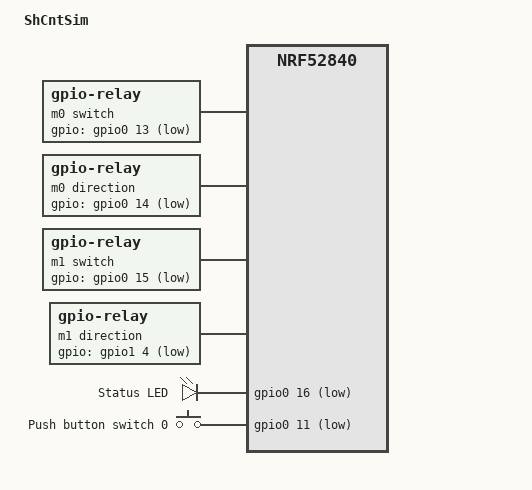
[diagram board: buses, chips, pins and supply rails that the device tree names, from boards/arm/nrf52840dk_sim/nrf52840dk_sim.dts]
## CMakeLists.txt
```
# Find Zephyr. This also loads Zephyr's build system.
cmake_minimum_required(VERSION 3.13.1)

set(CONF_FILE "prj.conf")
list(APPEND CONF_FILE "../config/openthread.conf")
list(APPEND CONF_FILE "../config/coap.conf")
list(APPEND CONF_FILE "../config/fota.conf")
list(APPEND CONF_FILE "../config/dfu.conf")

list(APPEND BOARD_ROOT ${CMAKE_CURRENT_SOURCE_DIR})
find_package(Zephyr REQUIRED HINTS $ENV{ZEPHYR_BASE})
project(shcnt)

# Add your source file to the "app" target. This must come after
# find_package(Zephyr) which defines the target.
target_sources(app PRIVATE src/coap.c)
target_sources(app PRIVATE src/debug_log.c)
target_sources(app PRIVATE src/main.c)
target_sources(app PRIVATE src/mot_cnt.c)
target_sources(app PRIVATE src/pos_srv.c)
target_sources(app PRIVATE src/pos_swing.c)
target_sources(app PRIVATE src/prov.c)

# TODO: Replace with library target
target_include_directories(app PRIVATE ../lib)
target_sources(app PRIVATE ../lib/cbor_utils.c)
target_sources(app PRIVATE ../lib/coap_fota.c)
target_sources(app PRIVATE ../lib/coap_reboot.c)
target_sources(app PRIVATE ../lib/coap_sd.c)
target_sources(app PRIVATE ../lib/coap_server.c)
target_sources(app PRIVATE ../lib/relay.c)

zephyr_get(COAPS_PSK SYSBUILD GLOBAL)
if(COAPS_PSK)
    target_compile_definitions(app PRIVATE
        -DCOAPS_PSK=${COAPS_PSK}
        )
endif()
```

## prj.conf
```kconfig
CONFIG_NEWLIB_LIBC=y
CONFIG_FPU=y
CONFIG_FPU_SHARING=y

CONFIG_MAIN_STACK_SIZE=3072
CONFIG_HEAP_MEM_POOL_SIZE=2048

CONFIG_FLASH=y

CONFIG_LED=y

CONFIG_MCUBOOT_IMGTOOL_SIGN_VERSION="0.7.0+0"

CONFIG_RESET_ON_FATAL_ERROR=n
#CONFIG_DEBUG_THREAD_INFO=y
#CONFIG_THREAD_MONITOR=y
```

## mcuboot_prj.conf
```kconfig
CONFIG_BOOT_SIGNATURE_KEY_FILE="mykey.pem"

CONFIG_RESET_ON_FATAL_ERROR=n
CONFIG_GPIO_AS_PINRESET=n
```

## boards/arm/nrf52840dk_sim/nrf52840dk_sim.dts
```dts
/*
 * Copyright (c) 2020 Hubert Miś
 *
 * SPDX-License-Identifier: Apache-2.0
 */

/dts-v1/;
#include <nordic/nrf52840_qiaa.dtsi>

/ {
	model = "ShCntSim";
	compatible = "hubertmis,shcnt_sim";

	chosen {
		zephyr,sram = &sram0;
		zephyr,flash = &flash0;
		zephyr,code-partition = &slot0_partition;
	};

	m0_sw: relay0 {
		compatible = "gpio-relay";
		gpios = <&gpio0 13 GPIO_ACTIVE_LOW>;
		label = "m0 switch";
	};
	m0_dir: relay1 {
		compatible = "gpio-relay";
		gpios = <&gpio0 14 GPIO_ACTIVE_LOW>;
		label = "m0 direction";
	};
	m1_sw: relay2 {
		compatible = "gpio-relay";
		gpios = <&gpio0 15 GPIO_ACTIVE_LOW>;
		label = "m1 switch";
	};
	m1_dir: relay3 {
		compatible = "gpio-relay";
		gpios = <&gpio1 4 GPIO_ACTIVE_LOW>;
		label = "m1 direction";
	};

	m0: mot_cnt_0 {
		compatible = "hubertmis,mot-cnt";
		sw = <&m0_sw>;
		dir = <&m0_dir>;
	};
	m1: mot_cnt_1 {
		compatible = "hubertmis,mot-cnt";
		sw = <&m1_sw>;
		dir = <&m1_dir>;
	};

    leds {
        compatible = "gpio-leds";
        led_status: led_0 {
            gpios = <&gpio0 16 GPIO_ACTIVE_LOW>;
            label = "Status LED";
        };
    };

    buttons {
        compatible = "gpio-keys";
        button0: button_0 {
            gpios = <&gpio0 11 (GPIO_PULL_UP | GPIO_ACTIVE_LOW)>;
            label = "Push button switch 0";
        };
    };

    /*
    * In some default configurations within the nRF Connect SDK,
    * e.g. on nRF52840, the chosen zephyr,entropy node is &cryptocell.
    * This devicetree overlay ensures that default is overridden wherever it
    * is set, as this application uses the RNG node for entropy exclusively.
    */
    chosen {
        zephyr,entropy = &rng;
    };
};

&gpiote {
	status = "okay";
};

&gpio0 {
	status = "okay";
};

&gpio1 {
	status = "okay";
};

&flash0 {

	partitions {
		compatible = "fixed-partitions";
		#address-cells = <1>;
		#size-cells = <1>;

		boot_partition: partition@0 {
			label = "mcuboot";
			reg = <0x000000000 0x0000C000>;
		};
		slot0_partition: partition@c000 {
			label = "image-0";
			reg = <0x0000C000 0x00067000>;
		};
		slot1_partition: partition@73000 {
			label = "image-1";
			reg = <0x00073000 0x00067000>;
		};
		scratch_partition: partition@da000 {
			label = "image-scratch";
			reg = <0x000da000 0x0001e000>;
		};

		/*
		 * The flash starting at 0x000f8000 and ending at
		 * 0x000fffff is reserved for use by the application.
		 */

		/*
		 * Storage partition will be used by FCB/LittleFS/NVS
		 * if enabled.
		 */
		storage_partition: partition@f8000 {
			label = "storage";
			reg = <0x000f8000 0x00008000>;
		};
	};
};
```

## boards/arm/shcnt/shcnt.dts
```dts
/*
 * Copyright (c) 2021 Hubert Miś
 *
 * SPDX-License-Identifier: Apache-2.0
 */

/dts-v1/;
#include <nordic/nrf52840_qiaa.dtsi>

/ {
	model = "ShCnt";
	compatible = "hubertmis,shcnt";

	chosen {
		zephyr,sram = &sram0;
		zephyr,flash = &flash0;
		zephyr,code-partition = &slot0_partition;
	};

	m0_sw: relay0 {
		compatible = "gpio-relay";
		gpios = <&gpio0 9 GPIO_ACTIVE_HIGH>;
		label = "m0 switch";
	};
	m0_dir: relay1 {
		compatible = "gpio-relay";
		gpios = <&gpio0 10 GPIO_ACTIVE_HIGH>;
		label = "m0 direction";
	};
	m1_sw: relay2 {
		compatible = "gpio-relay";
		gpios = <&gpio1 6 GPIO_ACTIVE_HIGH>;
		label = "m1 switch";
	};
	m1_dir: relay3 {
		compatible = "gpio-relay";
		gpios = <&gpio1 4 GPIO_ACTIVE_HIGH>;
		label = "m1 direction";
	};

	m0: mot_cnt_0 {
		compatible = "hubertmis,mot-cnt";
		sw = <&m0_sw>;
		dir = <&m0_dir>;
	};
	m1: mot_cnt_1 {
		compatible = "hubertmis,mot-cnt";
		sw = <&m1_sw>;
		dir = <&m1_dir>;
	};

    leds {
        compatible = "gpio-leds";
        led_status: led_0 {
            gpios = <&gpio0 22 GPIO_ACTIVE_HIGH>;
            label = "Status LED";
        };
    };

    buttons {
        compatible = "gpio-keys";
        button0: button_0 {
            gpios = <&gpio1 0 (GPIO_PULL_UP | GPIO_ACTIVE_LOW)>;
            label = "Push button switch 0";
        };
    };

    /*
    * In some default configurations within the nRF Connect SDK,
    * e.g. on nRF52840, the chosen zephyr,entropy node is &cryptocell.
    * This devicetree overlay ensures that default is overridden wherever it
    * is set, as this application uses the RNG node for entropy exclusively.
    */
    chosen {
        zephyr,entropy = &rng;
    };
};

&gpiote {
	status = "okay";
};

&gpio0 {
	status = "okay";
};

&gpio1 {
	status = "okay";
};

&flash0 {

	partitions {
		compatible = "fixed-partitions";
		#address-cells = <1>;
		#size-cells = <1>;

		boot_partition: partition@0 {
			label = "mcuboot";
			reg = <0x000000000 0x0000C000>;
		};
		slot0_partition: partition@c000 {
			label = "image-0";
			reg = <0x0000C000 0x00067000>;
		};
		slot1_partition: partition@73000 {
			label = "image-1";
			reg = <0x00073000 0x00067000>;
		};
		scratch_partition: partition@da000 {
			label = "image-scratch";
			reg = <0x000da000 0x0001e000>;
		};

		/*
		 * The flash starting at 0x000f8000 and ending at
		 * 0x000fffff is reserved for use by the application.
		 */

		/*
		 * Storage partition will be used by FCB/LittleFS/NVS
		 * if enabled.
		 */
		storage_partition: partition@f8000 {
			label = "storage";
			reg = <0x000f8000 0x00008000>;
		};
	};
};
```

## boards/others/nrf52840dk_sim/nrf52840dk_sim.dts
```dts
/*
 * Copyright (c) 2020 Hubert Miś
 *
 * SPDX-License-Identifier: Apache-2.0
 */

/dts-v1/;
#include <nordic/nrf52840_qiaa.dtsi>

/ {
	model = "ShCntSim";
	compatible = "hubertmis,shcnt_sim";

	chosen {
		zephyr,sram = &sram0;
		zephyr,flash = &flash0;
		zephyr,code-partition = &slot0_partition;
		zephyr,ieee802154 = &ieee802154;
	};

	m0_sw: relay0 {
		compatible = "gpio-relay";
		gpios = <&gpio0 13 GPIO_ACTIVE_LOW>;
		label = "m0 switch";
	};
	m0_dir: relay1 {
		compatible = "gpio-relay";
		gpios = <&gpio0 14 GPIO_ACTIVE_LOW>;
		label = "m0 direction";
	};
	m1_sw: relay2 {
		compatible = "gpio-relay";
		gpios = <&gpio0 15 GPIO_ACTIVE_LOW>;
		label = "m1 switch";
	};
	m1_dir: relay3 {
		compatible = "gpio-relay";
		gpios = <&gpio1 4 GPIO_ACTIVE_LOW>;
		label = "m1 direction";
	};

	m0: mot_cnt_0 {
		compatible = "hubertmis,mot-cnt";
		sw = <&m0_sw>;
		dir = <&m0_dir>;
	};
	m1: mot_cnt_1 {
		compatible = "hubertmis,mot-cnt";
		sw = <&m1_sw>;
		dir = <&m1_dir>;
	};

    leds {
        compatible = "gpio-leds";
        led_status: led_0 {
            gpios = <&gpio0 16 GPIO_ACTIVE_LOW>;
            label = "Status LED";
        };
    };

    buttons {
        compatible = "gpio-keys";
        button0: button_0 {
            gpios = <&gpio0 11 (GPIO_PULL_UP | GPIO_ACTIVE_LOW)>;
            label = "Push button switch 0";
        };
    };

    /*
    * In some default configurations within the nRF Connect SDK,
    * e.g. on nRF52840, the chosen zephyr,entropy node is &cryptocell.
    * This devicetree overlay ensures that default is overridden wherever it
    * is set, as this application uses the RNG node for entropy exclusively.
    */
    chosen {
        zephyr,entropy = &rng;
    };
};

&gpiote {
	status = "okay";
};

&gpio0 {
	status = "okay";
};

&gpio1 {
	status = "okay";
};

&ieee802154 {
	status = "okay";
};

&uicr {
    nfct-pins-as-gpios;
};

&flash0 {

	partitions {
		compatible = "fixed-partitions";
		#address-cells = <1>;
		#size-cells = <1>;

		boot_partition: partition@0 {
			label = "mcuboot";
			reg = <0x000000000 0x0000C000>;
		};
		slot0_partition: partition@c000 {
			label = "image-0";
			reg = <0x0000C000 0x00067000>;
		};
		slot1_partition: partition@73000 {
			label = "image-1";
			reg = <0x00073000 0x00067000>;
		};
		scratch_partition: partition@da000 {
			label = "image-scratch";
			reg = <0x000da000 0x0001e000>;
		};

		/*
		 * The flash starting at 0x000f8000 and ending at
		 * 0x000fffff is reserved for use by the application.
		 */

		/*
		 * Storage partition will be used by FCB/LittleFS/NVS
		 * if enabled.
		 */
		storage_partition: partition@f8000 {
			label = "storage";
			reg = <0x000f8000 0x00008000>;
		};
	};
};
```

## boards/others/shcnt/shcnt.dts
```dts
/*
 * Copyright (c) 2021 Hubert Miś
 *
 * SPDX-License-Identifier: Apache-2.0
 */

/dts-v1/;
#include <nordic/nrf52840_qiaa.dtsi>

/ {
	model = "ShCnt";
	compatible = "hubertmis,shcnt";

	chosen {
		zephyr,sram = &sram0;
		zephyr,flash = &flash0;
		zephyr,code-partition = &slot0_partition;
		zephyr,ieee802154 = &ieee802154;
	};

	m0_sw: relay0 {
		compatible = "gpio-relay";
		gpios = <&gpio0 9 GPIO_ACTIVE_HIGH>;
		label = "m0 switch";
	};
	m0_dir: relay1 {
		compatible = "gpio-relay";
		gpios = <&gpio0 10 GPIO_ACTIVE_HIGH>;
		label = "m0 direction";
	};
	m1_sw: relay2 {
		compatible = "gpio-relay";
		gpios = <&gpio1 6 GPIO_ACTIVE_HIGH>;
		label = "m1 switch";
	};
	m1_dir: relay3 {
		compatible = "gpio-relay";
		gpios = <&gpio1 4 GPIO_ACTIVE_HIGH>;
		label = "m1 direction";
	};

	m0: mot_cnt_0 {
		compatible = "hubertmis,mot-cnt";
		sw = <&m0_sw>;
		dir = <&m0_dir>;
	};
	m1: mot_cnt_1 {
		compatible = "hubertmis,mot-cnt";
		sw = <&m1_sw>;
		dir = <&m1_dir>;
	};

    leds {
        compatible = "gpio-leds";
        led_status: led_0 {
            gpios = <&gpio0 22 GPIO_ACTIVE_HIGH>;
            label = "Status LED";
        };
    };

    buttons {
        compatible = "gpio-keys";
        button0: button_0 {
            gpios = <&gpio1 0 (GPIO_PULL_UP | GPIO_ACTIVE_LOW)>;
            label = "Push button switch 0";
        };
    };

    /*
    * In some default configurations within the nRF Connect SDK,
    * e.g. on nRF52840, the chosen zephyr,entropy node is &cryptocell.
    * This devicetree overlay ensures that default is overridden wherever it
    * is set, as this application uses the RNG node for entropy exclusively.
    */
    chosen {
        zephyr,entropy = &rng;
    };
};

&gpiote {
	status = "okay";
};

&gpio0 {
	status = "okay";
};

&gpio1 {
	status = "okay";
};

&ieee802154 {
	status = "okay";
};

&uicr {
    nfct-pins-as-gpios;
};

&flash0 {

	partitions {
		compatible = "fixed-partitions";
		#address-cells = <1>;
		#size-cells = <1>;

		boot_partition: partition@0 {
			label = "mcuboot";
			reg = <0x000000000 0x0000C000>;
		};
		slot0_partition: partition@c000 {
			label = "image-0";
			reg = <0x0000C000 0x00079000>;
		};
		slot1_partition: partition@85000 {
			label = "image-1";
			reg = <0x00085000 0x00079000>;
		};
		storage_partition: partition@fe000 {
			label = "storage";
			reg = <0x000fe000 0x00002000>;
		};
	};
};
```

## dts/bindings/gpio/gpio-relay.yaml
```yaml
# Copyright (c) 2020, Hubert Miś
# SPDX-License-Identifier: Apache-2.0

description: GPIO relay node

compatible: "gpio-relay"

properties:
   gpios:
      type: phandle-array
      required: true
   label:
      required: true
      type: string
      description: Human readable string describing the device (used as device_get_binding() argument)
```

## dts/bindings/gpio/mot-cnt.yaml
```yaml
# Copyright (c) 2021, Hubert Miś
# SPDX-License-Identifier: Apache-2.0

description: Motor controller node

compatible: "hubertmis,mot-cnt"

properties:
   sw:
      type: phandle
      required: true
   dir:
      type: phandle
      required: true
```

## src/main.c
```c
/*
 * Copyright (c) 2021 Hubert Miś
 *
 * SPDX-License-Identifier: Apache-2.0
 */

#include <assert.h>

#include <relay.h>
#include "coap.h"
#include "mot_cnt.h"
#include "pos_srv.h"
#include "prov.h"

#include <net/fota_download.h>
#include <openthread/thread.h>
#include <zephyr/dfu/mcuboot.h>
#include <zephyr/drivers/gpio.h>
#include <zephyr/net/openthread.h>
#include <zephyr/settings/settings.h>
#include <zephyr/sys/reboot.h>

#define TX_POWER 8

// Heartbeat
#define HEARTBEAT_STACK_SIZE 512
#define LED_NODE_ID DT_NODELABEL(led_status)
#define GPIO_NODE_ID DT_GPIO_CTLR(LED_NODE_ID, gpios)
#define GPIO_PIN     DT_GPIO_PIN(LED_NODE_ID, gpios)
#define GPIO_FLAGS   DT_GPIO_FLAGS(LED_NODE_ID, gpios)

void hb_proc(void *, void *, void *)
{
	const struct device *status_led_gpio = DEVICE_DT_GET(GPIO_NODE_ID);

	if (!status_led_gpio) return;
	if (gpio_pin_configure(status_led_gpio, GPIO_PIN, GPIO_OUTPUT_ACTIVE | GPIO_FLAGS) < 0) return;

	while (1)
	{
		gpio_pin_set(status_led_gpio, GPIO_PIN, 1);
		k_sleep(K_MSEC(100));
		gpio_pin_set(status_led_gpio, GPIO_PIN, 0);
		k_sleep(K_MSEC(100));
		gpio_pin_set(status_led_gpio, GPIO_PIN, 1);
		k_sleep(K_MSEC(100));
		gpio_pin_set(status_led_gpio, GPIO_PIN, 0);
		k_sleep(K_MSEC(4700));
	}
}

K_THREAD_STACK_DEFINE(hb_thread_stack, HEARTBEAT_STACK_SIZE);
static struct k_thread hb_thread_data;

// Fota
void fota_callback(const struct fota_download_evt *evt)
{
    if (evt->id == FOTA_DOWNLOAD_EVT_FINISHED) {
        sys_reboot(SYS_REBOOT_COLD);
    }
}

// Main
int main(void)
{
	prov_init();

	settings_subsys_init();
	settings_register(prov_get_settings_handler());
	settings_load();

	otError error;
	struct otInstance *ot_instance = openthread_get_default_instance();

	error = otPlatRadioSetTransmitPower(ot_instance, TX_POWER);
	assert(error == OT_ERROR_NONE);

	struct otIp6Address site_local_all_nodes_addr = {.mFields = {.m8 =
			{0xff, 0x05, 0x00, 0x00, 0x00, 0x00, 0x00, 0x00,
			 0x00, 0x00, 0x00, 0x00, 0x00, 0x00, 0x00, 0x01} }};

	error = otIp6SubscribeMulticastAddress(ot_instance, &site_local_all_nodes_addr);
	assert(error == OT_ERROR_NONE);

	fota_download_init(fota_callback);
	coap_init();
	pos_srv_init();

	k_thread_create(&hb_thread_data, hb_thread_stack, K_THREAD_STACK_SIZEOF(hb_thread_stack),
			hb_proc, NULL, NULL, NULL, 5, 0, K_NO_WAIT);

	boot_write_img_confirmed();

	return 0;
}
```

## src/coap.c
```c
/*
 * Copyright (c) 2021 Hubert Miś
 *
 * SPDX-License-Identifier: Apache-2.0
 */

#include "coap.h"

#include "mot_cnt.h"
#include "mot_cnt_map.h"
#include "pos_srv.h"

#include <cbor_utils.h>
#include <coap_fota.h>
#include <coap_reboot.h>
#include <coap_sd.h>
#include <coap_server.h>
#include "prov.h"

#include <zephyr/net/socket.h>
#include <zephyr/net/coap.h>

#include <zcbor_decode.h>
#include <zcbor_encode.h>

#define MAX_COAP_MSG_LEN 256
#define MAX_COAP_PAYLOAD_LEN 64

#define RSRC0_KEY "r0"
#define RSRC1_KEY "r1"
#define DUR0_KEY "d0"
#define DUR1_KEY "d1"
#define SW_INT0_KEY "i0"
#define SW_INT1_KEY "i1"

static int handle_prov_post(zcbor_state_t *cd,
	       	enum coap_response_code *rsp_code, void *context)
{
    (void)context;

    int r;
    bool updated = false;

    char str[PROV_LBL_MAX_LEN];
    int int_val;

    // Handle rsrc0
    r = cbor_extract_from_map_string(cd, RSRC0_KEY, str, sizeof(str));
    if ((r >= 0) && (r < PROV_LBL_MAX_LEN)) {
        r = prov_set_rsrc_label(0, str);

        if (r == 0) {
            updated = true;
        }
    }

    // Handle rsrc1
    r = cbor_extract_from_map_string(cd, RSRC1_KEY, str, sizeof(str));
    if ((r >= 0) && (r < PROV_LBL_MAX_LEN)) {
        r = prov_set_rsrc_label(1, str);

        if (r == 0) {
            updated = true;
        }
    }

    // Handle duration 0
    r = cbor_extract_from_map_int(cd, DUR0_KEY, &int_val);
    if (!r && int_val >= 0) {
        r = prov_set_rsrc_duration(0, int_val);

        if (r == 0) {
            updated = true;
        }
    }

    // Handle duration 1
    r = cbor_extract_from_map_int(cd, DUR1_KEY, &int_val);
    if (!r && int_val >= 0) {
        r = prov_set_rsrc_duration(1, int_val);

        if (r == 0) {
            updated = true;
        }
    }

    // Handle swing interval 0
    r = cbor_extract_from_map_int(cd, SW_INT0_KEY, &int_val);
    if (!r && int_val >= 0) {
        r = prov_set_swing_interval(0, int_val);

        if (r == 0) {
            updated = true;
        }
    }

    // Handle swing interval 1
    r = cbor_extract_from_map_int(cd, SW_INT1_KEY, &int_val);
    if (!r && int_val >= 0) {
        r = prov_set_swing_interval(1, int_val);

        if (r == 0) {
            updated = true;
        }
    }

    if (updated) {
        *rsp_code = COAP_RESPONSE_CODE_CHANGED;
        prov_store();
    }

    return r;
}

static int prov_post(struct coap_resource *resource,
        struct coap_packet *request,
        struct sockaddr *addr, socklen_t addr_len)
{
    int sock = *(int*)resource->user_data;

    return coap_server_handle_simple_setter(sock, resource, request, addr, addr_len,
		    handle_prov_post, NULL);
}

static int prepare_prov_payload(uint8_t *payload, size_t len)
{
    ZCBOR_STATE_E(ce, 2, payload, len, 1);
    const char *label;
    int duration;
    int interval;

    if (!zcbor_map_start_encode(ce, 6)) return -EINVAL;

    label = prov_get_rsrc_label(0);
    if (!zcbor_tstr_put_lit(ce, RSRC0_KEY)) return -EINVAL;
    if (!zcbor_tstr_put_term(ce, label, 8)) return -EINVAL;

    label = prov_get_rsrc_label(1);
    if (!zcbor_tstr_put_lit(ce, RSRC1_KEY)) return -EINVAL;
    if (!zcbor_tstr_put_term(ce, label, 8)) return -EINVAL;

    duration = prov_get_rsrc_duration(0);
    if (!zcbor_tstr_put_lit(ce, DUR0_KEY)) return -EINVAL;
    if (!zcbor_int32_put(ce, duration)) return -EINVAL;

    duration = prov_get_rsrc_duration(1);
    if (!zcbor_tstr_put_lit(ce, DUR1_KEY)) return -EINVAL;
    if (!zcbor_int32_put(ce, duration)) return -EINVAL;

    interval = prov_get_swing_interval(0);
    if (!zcbor_tstr_put_lit(ce, SW_INT0_KEY)) return -EINVAL;
    if (!zcbor_int32_put(ce, interval)) return -EINVAL;

    interval = prov_get_swing_interval(1);
    if (!zcbor_tstr_put_lit(ce, SW_INT1_KEY)) return -EINVAL;
    if (!zcbor_int32_put(ce, interval)) return -EINVAL;

    if (!zcbor_map_end_encode(ce, 6)) return -EINVAL;

    return (size_t)(ce->payload - payload);
}

static int prov_get(struct coap_resource *resource,
        struct coap_packet *request,
        struct sockaddr *addr, socklen_t addr_len)
{
    int sock = *(int*)resource->user_data;
    int r = 0;
    uint8_t payload[MAX_COAP_PAYLOAD_LEN];
    size_t payload_len;

    r = prepare_prov_payload(payload, MAX_COAP_PAYLOAD_LEN);
    if (r < 0) {
        return r;
    }
    payload_len = r;

    return coap_server_handle_simple_getter(sock, resource, request, addr, addr_len,
                    payload, payload_len);
}

#include "debug_log.h"

static int prepare_dbg_payload(uint8_t *payload, size_t len)
{
    ZCBOR_STATE_E(ce, 2, payload, len, 1);
    uint32_t *log;
    uint32_t log_len = debug_log_get(&log);

    if (!zcbor_map_start_encode(ce, log_len)) return -EINVAL;

    for (int i = 0; i < log_len; i++) {
	    if (!zcbor_int32_put(ce, log[i])) return -EINVAL;
    }

    if (!zcbor_map_end_encode(ce, log_len)) return -EINVAL;

    return (size_t)(ce->payload - payload);
}

static int dbg_get(struct coap_resource *resource,
        struct coap_packet *request,
        struct sockaddr *addr, socklen_t addr_len)
{
    int sock = *(int*)resource->user_data;
    int r = 0;
    uint8_t payload[MAX_COAP_PAYLOAD_LEN*6];
    size_t payload_len;

    r = prepare_dbg_payload(payload, sizeof(payload));
    if (r < 0) {
        return r;
    }
    payload_len = r;

    return coap_server_handle_simple_getter(sock, resource, request, addr, addr_len,
                    payload, payload_len);
}

#define VAL_KEY "val"
#define VAL_MIN "up"
#define VAL_MAX "down"
#define VAL_STOP "stop"
#define VAL_LABEL_MAX_LEN 5

#define REQ_KEY "r"
#define OVR_KEY "o"
#define AUTO_KEY "a"
#define PRJ_KEY "p"

static int handle_rsrc_post(zcbor_state_t *cd,
	       	enum coap_response_code *rsp_code, void *context)
{
    int mot_id = *(int *)context;
    bool updated = false;
    int r;
    char str[VAL_LABEL_MAX_LEN];
    int int_val;

    *rsp_code = COAP_RESPONSE_CODE_BAD_REQUEST;

    // Handle val
    r = cbor_find_in_map(cd, VAL_KEY);
    if (!r) {
        // Key found
        r = cbor_try_read_string(cd, str, sizeof(str));
        if ((r >= 0) && (r < VAL_LABEL_MAX_LEN)) {
            if (strncmp(str, VAL_STOP, strlen(VAL_STOP)) == 0) {
    	    int ret = pos_srv_req(mot_id, MOT_CNT_STOP);
                if (ret == 0) updated = true;
            } else if (strncmp(str, VAL_MAX, strlen(VAL_MAX)) == 0) {
    	    int ret = pos_srv_req(mot_id, MOT_CNT_MAX);
                if (ret == 0) updated = true;
            } else if (strncmp(str, VAL_MIN, strlen(VAL_MIN)) == 0) {
    	    int ret = pos_srv_req(mot_id, MOT_CNT_MIN);
                if (ret == 0) updated = true;
            }
        } else if (r < 0) {
	    // Did not decode string. Try int
            r = cbor_try_read_int(cd, &int_val);
            if (!r && int_val >= 0) {
                r = pos_srv_req(mot_id, int_val);
                if (r == 0) updated = true;
            }
        }
    }

    if (updated) {
        *rsp_code = COAP_RESPONSE_CODE_CHANGED;
    }

    return r;
}

static int rsrc_post(struct coap_resource *resource,
        struct coap_packet *request,
        struct sockaddr *addr, socklen_t addr_len, int mot_id)
{
    int sock = *(int*)resource->user_data;

    return coap_server_handle_non_con_setter(sock, resource, request, addr, addr_len,
		    handle_rsrc_post, &mot_id);
}

static int prepare_rsrc_payload(uint8_t *payload, size_t len, int id)
{
    ZCBOR_STATE_E(ce, 2, payload, len, 1);
    const struct device *mot_cnt = mot_cnt_map_from_id(id);
    const struct mot_cnt_api *api = mot_cnt->api;
    int value = api->get_pos(mot_cnt);

    int req;
    int override;
    int auto_val;
    bool prj;
    int r = pos_srv_get(id, &req, &override, &auto_val, &prj);

    if (r) return r;

    if (!zcbor_map_start_encode(ce, 5)) return -EINVAL;

    if (!zcbor_tstr_put_lit(ce, VAL_KEY)) return -EINVAL;
    if (!zcbor_int32_put(ce, value)) return -EINVAL;

    if (!zcbor_tstr_put_lit(ce, REQ_KEY)) return -EINVAL;
    if (!zcbor_int32_put(ce, req)) return -EINVAL;

    if (!zcbor_tstr_put_lit(ce, OVR_KEY)) return -EINVAL;
    if (!zcbor_int32_put(ce, override)) return -EINVAL;

    if (!zcbor_tstr_put_lit(ce, AUTO_KEY)) return -EINVAL;
    if (!zcbor_int32_put(ce, auto_val)) return -EINVAL;

    if (!zcbor_tstr_put_lit(ce, PRJ_KEY)) return -EINVAL;
    if (!zcbor_bool_put(ce, prj)) return -EINVAL;

    if (!zcbor_map_end_encode(ce, 4)) return -EINVAL;

    return (size_t)(ce->payload - payload);
}

static int rsrc_get(struct coap_resource *resource,
        struct coap_packet *request,
        struct sockaddr *addr, socklen_t addr_len, int mc_id)
{
    int sock = *(int*)resource->user_data;
    int r = 0;
    uint8_t payload[MAX_COAP_PAYLOAD_LEN];
    size_t payload_len;

    r = prepare_rsrc_payload(payload, MAX_COAP_PAYLOAD_LEN, mc_id);
    if (r < 0) {
        return r;
    }
    payload_len = r;

    return coap_server_handle_simple_getter(sock, resource, request, addr, addr_len,
                    payload, payload_len);
}

static int handle_auto_post(zcbor_state_t *cd,
	       	enum coap_response_code *rsp_code, void *context)
{
    int mot_id = *(int *)context;
    bool updated = false;
    int r;
    char str[VAL_LABEL_MAX_LEN];
    int int_val;

    *rsp_code = COAP_RESPONSE_CODE_BAD_REQUEST;

    // Handle val
    r = cbor_find_in_map(cd, VAL_KEY);
    if (!r) {
        // Key found
        r = cbor_try_read_string(cd, str, sizeof(str));
        if ((r >= 0) && (r < VAL_LABEL_MAX_LEN)) {
            if (strncmp(str, VAL_STOP, strlen(VAL_STOP)) == 0) {
    	    int ret = pos_srv_set_auto(mot_id, MOT_CNT_STOP);
                if (ret == 0) updated = true;
            } else if (strncmp(str, VAL_MAX, strlen(VAL_MAX)) == 0) {
    	    int ret = pos_srv_set_auto(mot_id, MOT_CNT_MAX);
                if (ret == 0) updated = true;
            } else if (strncmp(str, VAL_MIN, strlen(VAL_MIN)) == 0) {
    	    int ret = pos_srv_set_auto(mot_id, MOT_CNT_MIN);
                if (ret == 0) updated = true;
            }
        } else if (r < 0) {
	    // Did not decode string. Try int
            r = cbor_try_read_int(cd, &int_val);
            if (!r && int_val >= 0) {
                r = pos_srv_set_auto(mot_id, int_val);
                if (r == 0) updated = true;
            }
        }
    }

    if (updated) {
        *rsp_code = COAP_RESPONSE_CODE_CHANGED;
    }

    return r;
}

static int auto_post(struct coap_resource *resource,
        struct coap_packet *request,
        struct sockaddr *addr, socklen_t addr_len, int mot_id)
{
    int sock = *(int*)resource->user_data;

    return coap_server_handle_non_con_setter(sock, resource, request, addr, addr_len,
		    handle_auto_post, &mot_id);
}

#define VALIDITY_KEY "d"
#define PRJ_KEY "p"

static int handle_prj_post(zcbor_state_t *cd,
	       	enum coap_response_code *rsp_code, void *context)
{
    int mot_id = *(int *)context;
    int ret;
    int validity_ms = 2 * 60 * 1000;
    bool prj_active = false;

    *rsp_code = COAP_RESPONSE_CODE_BAD_REQUEST;

    // Handle validity
    ret = cbor_extract_from_map_int(cd, VALIDITY_KEY, &validity_ms);
    if (validity_ms <= 0) {
        *rsp_code = COAP_RESPONSE_CODE_BAD_REQUEST;
        return -EINVAL;
    }

    // Handle projector being enabled
    ret = cbor_extract_from_map_bool(cd, PRJ_KEY, &prj_active);
    if (ret) {
        *rsp_code = COAP_RESPONSE_CODE_BAD_REQUEST;
        return -EINVAL;
    }

    pos_srv_set_projector_state(mot_id, prj_active, validity_ms);

    *rsp_code = COAP_RESPONSE_CODE_CHANGED;
    return 0;
}

static int prj_post(struct coap_resource *resource,
        struct coap_packet *request,
        struct sockaddr *addr, socklen_t addr_len, int mot_id)
{
    int sock = *(int*)resource->user_data;

    return coap_server_handle_non_con_setter(sock, resource, request, addr, addr_len,
		    handle_prj_post, &mot_id);
}

static int rsrc0_get(struct coap_resource *resource,
        struct coap_packet *request,
        struct sockaddr *addr, socklen_t addr_len)
{
	return rsrc_get(resource, request, addr, addr_len, 0);
}

static int rsrc0_post(struct coap_resource *resource,
        struct coap_packet *request,
        struct sockaddr *addr, socklen_t addr_len)
{
	return rsrc_post(resource, request, addr, addr_len, 0);
}

static int auto0_post(struct coap_resource *resource,
        struct coap_packet *request,
        struct sockaddr *addr, socklen_t addr_len)
{
	return auto_post(resource, request, addr, addr_len, 0);
}

static int prj0_post(struct coap_resource *resource,
        struct coap_packet *request,
        struct sockaddr *addr, socklen_t addr_len)
{
	return prj_post(resource, request, addr, addr_len, 0);
}

static int rsrc1_get(struct coap_resource *resource,
        struct coap_packet *request,
        struct sockaddr *addr, socklen_t addr_len)
{
	return rsrc_get(resource, request, addr, addr_len, 1);
}

static int rsrc1_post(struct coap_resource *resource,
        struct coap_packet *request,
        struct sockaddr *addr, socklen_t addr_len)
{
	return rsrc_post(resource, request, addr, addr_len, 1);
}

static int auto1_post(struct coap_resource *resource,
        struct coap_packet *request,
        struct sockaddr *addr, socklen_t addr_len)
{
	return auto_post(resource, request, addr, addr_len, 1);
}

static int prj1_post(struct coap_resource *resource,
        struct coap_packet *request,
        struct sockaddr *addr, socklen_t addr_len)
{
	return prj_post(resource, request, addr, addr_len, 1);
}

static struct coap_resource * rsrcs_get(int sock)
{
    static const char * const fota_path [] = {"fota_req", NULL};
    static const char * const sd_path [] = {"sd", NULL};
    static const char * const prov_path[] = {"prov", NULL};
    static const char * const reboot_path[] = {"reboot", NULL};
    static const char * const dbg_path[] = {"dbg", NULL};
    static const char * rsrc0_path[] = {NULL, NULL};
    static const char * auto0_path[] = {NULL, "auto", NULL};
    static const char * prj0_path[] = {NULL, "prj", NULL};
    static const char * rsrc1_path[] = {NULL, NULL};
    static const char * auto1_path[] = {NULL, "auto", NULL};
    static const char * prj1_path[] = {NULL, "prj", NULL};

    static struct coap_resource resources[] = {
        { .get = coap_fota_get,
          .post = coap_fota_post,
          .path = fota_path,
        },
        { .get = coap_sd_server,
          .path = sd_path,
        },
	{ .get = prov_get,
	  .post = prov_post,
	  .path = prov_path,
	},
	{ .post = coap_reboot_post,
	  .path = reboot_path,
	},
	{ .get = dbg_get,
	  .path = dbg_path,
	},
	{ .get = rsrc0_get,
	  .post = rsrc0_post,
	  .put = rsrc0_post,
          .path = rsrc0_path,
	},
	{ .post = auto0_post,
	  .path = auto0_path,
	},
	{ .post = prj0_post,
	  .path = prj0_path,
	},
	{ .get = rsrc1_get,
	  .post = rsrc1_post,
	  .put = rsrc1_post,
	  .path = rsrc1_path,
	},
	{ .post = auto1_post,
	  .path = auto1_path,
	},
	{ .post = prj1_post,
	  .path = prj1_path,
	},
        { .path = NULL } // Array terminator
    };

    int rsrc0_index = ARRAY_SIZE(resources) - 7;
    int rsrc1_index = ARRAY_SIZE(resources) - 4;

    rsrc0_path[0] = prov_get_rsrc_label(0);
    auto0_path[0] = rsrc0_path[0];
    prj0_path[0] = rsrc0_path[0];
    rsrc1_path[0] = prov_get_rsrc_label(1);
    auto1_path[0] = rsrc1_path[0];
    prj1_path[0] = rsrc1_path[0];

    if (!rsrc0_path[0] || !strlen(rsrc0_path[0])) {
	    resources[rsrc0_index].path = NULL;
    } else {
	    resources[rsrc0_index].path = rsrc0_path;
    }

    if (!rsrc1_path[0] || !strlen(rsrc1_path[0])) {
	    resources[rsrc1_index].path = NULL;
    } else {
	    resources[rsrc1_index].path = rsrc1_path;
    }

    // TODO: Replace it with something better
    static int user_data;

    user_data = sock;

    for (int i = 0; i < ARRAY_SIZE(resources); ++i) {
        resources[i].user_data = &user_data;
    }

    return resources;
}

void coap_init(void)
{
    coap_server_init(rsrcs_get);
}
```

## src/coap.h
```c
/*
 * Copyright (c) 2021 Hubert Miś
 *
 * SPDX-License-Identifier: Apache-2.0
 */

/**
 * @file
 * @brief CoAP Server
 */
    
#ifndef COAP_H_
#define COAP_H_

#ifdef __cplusplus
extern "C" {
#endif

void coap_init(void);

#ifdef __cplusplus
}   
#endif

#endif // COAP_H_
```

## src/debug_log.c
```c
#include "debug_log.h"

#define LOG_ITEMS 256

#if DEBUG
static uint32_t log[LOG_ITEMS];
static uint32_t log_ptr;

void debug_log(uint32_t value)
{
	if (log_ptr >= LOG_ITEMS) return;

	log[log_ptr] = value;
	log_ptr++;

	return;
}

uint32_t debug_log_get(uint32_t **log_result)
{
	*log_result = log;
	return log_ptr;
}
#endif
```

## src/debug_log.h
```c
/*
 * Copyright (c) 2022 Hubert Miś
 *
 * SPDX-License-Identifier: Apache-2.0
 */

#include <stdint.h>

#define DEBUG 0

#if DEBUG
void debug_log(uint32_t value);
uint32_t debug_log_get(uint32_t **log);
#else
#define debug_log(...)
#define debug_log_get(...) 0
#endif
```

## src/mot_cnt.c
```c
/*
 * Copyright (c) 2021 Hubert Miś
 *
 * SPDX-License-Identifier: Apache-2.0
 */

#define DT_DRV_COMPAT hubertmis_mot_cnt

#include "mot_cnt.h"

#include <relay.h>

#include <zephyr/kernel.h>
#include <zephyr/kernel/thread_stack.h>

#include "debug_log.h"

#define THREAD_STACK_SIZE 1024
#define THREAD_PRIORITY 1
#define DEFAULT_TIME MOT_CNT_DEFAULT_TIME /* ms */

#define STOP_VAL MOT_CNT_STOP
#define MIN_VAL MOT_CNT_MIN
#define MAX_VAL MOT_CNT_MAX

#define RELAY_DELAY 500 /* ms */

enum dir {
	DIR_STOP,
	DIR_DOWN,
	DIR_UP,
};

struct data {
	K_KERNEL_STACK_MEMBER(thread_stack, THREAD_STACK_SIZE);
	struct k_thread thread_data;
	k_tid_t thread_id;

	struct k_sem sem;
	struct k_mutex mutex;

	int target;
	enum dir dir;
	uint32_t run_time;

	int64_t movement_start_time;
	int known_loc;
	int loc_uncert;
};

struct cfg {
	const struct device *sw_dev;
	const struct device *dir_dev;
};

struct inst {
	struct data *data;
	const struct cfg *cfg;
};

static void start_movement(struct inst *inst, enum dir dir);
static void stop_movement(struct inst *inst);
static void set_dir_up(struct inst *inst);
static void set_dir_down(struct inst *inst);

static int32_t movement_delta(struct inst *inst, int32_t run_time);
static int32_t get_run_time(struct inst *inst, int32_t movement_delta);
static int32_t get_full_run_time(struct inst *inst);
static void save_known_loc(struct inst *inst, int loc);

static int get_curr_pos(struct inst *inst, int64_t *time_output)
{
	struct data *data = inst->data;
	int64_t curr_time = k_uptime_get();
	int64_t movement_time;
	int curr_pos;

	debug_log(10);
	debug_log((uint32_t)curr_time);

	if (data->known_loc < 0) {
		/* Last position was unknown, cannot calculate current. */
		return -EINVAL;
	}
	if (!data->run_time) {
		/* Time of full swing unknown, cannot calculate relative position. */
		return -EINVAL;
	}

	k_mutex_lock(&data->mutex, K_FOREVER);

	movement_time = curr_time - data->movement_start_time;
	debug_log(11);
	debug_log(movement_time);

	switch (data->dir) {
		case DIR_UP:
			curr_pos = data->known_loc + movement_delta(inst, movement_time);
			debug_log(12);
			debug_log(curr_pos);
			curr_pos = (curr_pos > MAX_VAL) ? MAX_VAL : curr_pos;

			break;

		case DIR_DOWN:
			curr_pos = data->known_loc - movement_delta(inst, movement_time);
			debug_log(13);
			debug_log(curr_pos);
			curr_pos = (curr_pos < MIN_VAL) ? MIN_VAL : curr_pos;

			break;

		case DIR_STOP:
			curr_pos = data->known_loc;
			debug_log(14);
			debug_log(curr_pos);
			break;

		default:
			/* Invalid direction. Return error. */
			curr_pos = -EINVAL;
	}

	k_mutex_unlock(&data->mutex);

	debug_log(15);
	if (time_output && curr_pos >= 0) {
		debug_log(16);
		debug_log(curr_time);
		*time_output = curr_time;
	}

	return curr_pos;
}

static void update_curr_pos(struct inst *inst)
{
	struct data *data = inst->data;
	int64_t curr_time = 0;
	int last_known_loc = data->known_loc;
	int curr_loc = get_curr_pos(inst, &curr_time);

	if (curr_loc < 0) {
		/* Current location is unknown. */
		return;
	}

	k_mutex_lock(&data->mutex, K_FOREVER);
	data->known_loc = curr_loc;
	data->movement_start_time = curr_time;

	debug_log(20);
	debug_log(data->movement_start_time);

	if ((last_known_loc != curr_loc) && data->loc_uncert < INT_MAX) {
		data->loc_uncert++;
	}
	k_mutex_unlock(&data->mutex);
}

static void go_stop(struct inst *inst)
{
	switch (inst->data->dir) {
		case DIR_UP:
		case DIR_DOWN:
			debug_log(40);
			stop_movement(inst);
			k_sleep(K_MSEC(RELAY_DELAY));
			set_dir_down(inst);
			k_sleep(K_MSEC(RELAY_DELAY));

			break;

		case DIR_STOP:
			debug_log(41);
			break;
	}
}

static int go_down(struct inst *inst, int32_t run_time)
{
	int ret;
	struct data *data = inst->data;

	if (data->known_loc == MIN_VAL && data->loc_uncert == 0 && data->dir == DIR_STOP) {
		/* Extreme position: We can skip this movement and act like it was requested movement */
		return -EAGAIN;
	}

	switch (data->dir) {
		case DIR_UP:
			debug_log(30);
			stop_movement(inst);
			k_sleep(K_MSEC(RELAY_DELAY));
			set_dir_down(inst);
			k_sleep(K_MSEC(RELAY_DELAY));

			/* fall through */

		case DIR_STOP:
			if (!k_sem_count_get(&data->sem) && (run_time >= RELAY_DELAY)) {
				start_movement(inst, DIR_DOWN);
				k_mutex_lock(&data->mutex, K_FOREVER);
				debug_log(31);
				debug_log(data->movement_start_time);
				k_mutex_unlock(&data->mutex);
				k_sleep(K_MSEC(RELAY_DELAY));

				run_time -= RELAY_DELAY;
			} else {
				/* Semaphore is already given or running time is too short. Skip starting movement */
				/* Direction relay is already in the default position (down). */
				run_time = 1;
				debug_log(32);
			}

			break;

		case DIR_DOWN:
			break;
	}

	ret = k_sem_take(&data->sem, K_MSEC(run_time));

	if (ret == -EAGAIN) {
		/* Timeout */
		debug_log(33);
		stop_movement(inst);
	}

	return ret;
}

static int go_up(struct inst *inst, int32_t run_time)
{
	int ret;
	struct data *data = inst->data;

	if (data->known_loc == MAX_VAL && data->loc_uncert == 0 && data->dir == DIR_STOP) {
		/* Extreme position: We can skip this movement and act like it was requested movement */
		return -EAGAIN;
	}

	switch (data->dir) {
		case DIR_DOWN:
			stop_movement(inst);
			k_sleep(K_MSEC(RELAY_DELAY));

			/* fall through */

		case DIR_STOP:
			set_dir_up(inst);
			k_sleep(K_MSEC(RELAY_DELAY));

			if (!k_sem_count_get(&data->sem) && (run_time >= RELAY_DELAY)) {
				start_movement(inst, DIR_UP);
				k_mutex_lock(&data->mutex, K_FOREVER);
				debug_log(51);
				debug_log(data->movement_start_time);
				k_mutex_unlock(&data->mutex);
				k_sleep(K_MSEC(RELAY_DELAY));

				run_time -= RELAY_DELAY;
			} else {
				/* Semaphore is already given or running time is too short. Skip starting movement */
				/* Set direction relay to the default position. */
				set_dir_down(inst);
				k_sleep(K_MSEC(RELAY_DELAY));
				run_time = 1;
			}

			break;

		case DIR_UP:
			break;
	}

	ret = k_sem_take(&data->sem, K_MSEC(run_time));

	if (ret == -EAGAIN) {
		/* Timeout */
		stop_movement(inst);
		k_sleep(K_MSEC(RELAY_DELAY));
		set_dir_down(inst); // Default direction
	}

	return ret;
}

static int go_min(struct inst *inst)
{
	int32_t run_time = get_full_run_time(inst);
	int ret = go_down(inst, run_time);

	if (ret == -EAGAIN) {
		/* After full movement, not interrupted by other request */
		save_known_loc(inst, MIN_VAL);
	}

	return ret;
}

static int go_max(struct inst *inst)
{
	int32_t run_time = get_full_run_time(inst);
	int ret = go_up(inst, run_time);

	if (ret == -EAGAIN) {
		/* After full movement, not interrupted by other request */
		save_known_loc(inst, MAX_VAL);
	}

	return ret;
}

static int go_target(struct inst *inst, int target)
{
	struct data *data = inst->data;

	if (data->known_loc < 0) {
		/* Current position is unknown */
		return -EINVAL;
	}

	//update_curr_pos(inst);
	//int known_loc = data->known_loc;
	int curr_pos = get_curr_pos(inst, NULL);

	if (target > curr_pos) {
		int32_t movement_delta = target - curr_pos;
		int32_t run_time = get_run_time(inst, movement_delta);
		return go_up(inst, run_time);
	} else if (target < curr_pos) {
		int32_t movement_delta = curr_pos - target;
		int32_t run_time = get_run_time(inst, movement_delta);
		return go_down(inst, run_time);
	} else {
		go_stop(inst);
		return -EAGAIN;
	}
}

static void start_movement(struct inst *inst, enum dir dir)
{
	const struct relay_api *r_api = inst->cfg->sw_dev->api;
	inst->data->movement_start_time = k_uptime_get();
	r_api->on(inst->cfg->sw_dev);
	inst->data->dir = dir;
}

static void stop_movement(struct inst *inst)
{
	const struct relay_api *r_api = inst->cfg->sw_dev->api;
	r_api->off(inst->cfg->sw_dev);
	update_curr_pos(inst);
	inst->data->dir = DIR_STOP;
}

static void set_dir_up(struct inst *inst)
{
	const struct relay_api *r_api = inst->cfg->dir_dev->api;
	r_api->on(inst->cfg->dir_dev);
}

static void set_dir_down(struct inst *inst)
{
	const struct relay_api *r_api = inst->cfg->dir_dev->api;
	r_api->off(inst->cfg->dir_dev);
}

static int32_t movement_delta(struct inst *inst, int32_t run_time)
{
	int32_t full_swing_run_time = inst->data->run_time ? inst->data->run_time : DEFAULT_TIME;
	return run_time * MAX_VAL / full_swing_run_time;
}

static int32_t get_run_time(struct inst *inst, int32_t movement_delta)
{
	int32_t full_swing_run_time = inst->data->run_time ? inst->data->run_time : DEFAULT_TIME;
	return movement_delta * full_swing_run_time / MAX_VAL;
}

static int32_t get_full_run_time(struct inst *inst)
{
	return inst->data->run_time ? inst->data->run_time * 3 / 2 : DEFAULT_TIME;
}

static void save_known_loc(struct inst *inst, int loc)
{
	k_mutex_lock(&inst->data->mutex, K_FOREVER);
	inst->data->known_loc = loc;
	inst->data->loc_uncert = 0;
	k_mutex_unlock(&inst->data->mutex);
}

static void thread_process(void * dev, void *, void *)
{
	const struct device *mot_cnt_dev = (const void *)dev;
	struct inst inst = {
		.data = mot_cnt_dev->data,
		.cfg = mot_cnt_dev->config,
	};
	struct data *data = inst.data;

	k_sem_take(&data->sem, K_FOREVER);

	while (1) {
		switch (data->target) {
			case STOP_VAL:
				go_stop(&inst);
				break;

			case MIN_VAL:
				if (go_min(&inst) == 0) {
					/* Interrupted by new request */
					continue;
				}
				break;

			case MAX_VAL:
				if (go_max(&inst) == 0) {
					/* Interrupted by new request */
					continue;
				}
				break;

			default:
				if (go_target(&inst, data->target) == 0) {
					/* Interrupted by new request */
					continue;
				}
				break;
		}

		k_sem_take(&data->sem, K_FOREVER);
	}
}

static int init_mot_cnt(const struct device *dev)
{
	struct data *data = dev->data;

	if (!data) {
		return -ENODEV;
	}

	data->dir = DIR_STOP;
	data->target = 0;
	data->run_time = 0;
	data->known_loc = -1;
	data->movement_start_time = 0;
	data->loc_uncert = 0;

	k_sem_init(&data->sem, 0, 1);
	k_mutex_init(&data->mutex);

	data->thread_id = k_thread_create(&data->thread_data,
		                          data->thread_stack,
					  K_THREAD_STACK_SIZEOF(data->thread_stack),
					  thread_process,
					  (void*)dev, NULL, NULL,
					  THREAD_PRIORITY,
					  0,
					  K_NO_WAIT);

	return 0;
}

static int api_min(const struct device *dev)
{
	struct data *data = dev->data;

	if (!data) {
		return -ENODEV;
	}

	data->target = MIN_VAL;
	k_sem_give(&data->sem);

	return 0;
}

static int api_max(const struct device *dev)
{
	struct data *data = dev->data;

	if (!data) {
		return -ENODEV;
	}

	data->target = MAX_VAL;
	k_sem_give(&data->sem);

	return 0;
}

static int api_stop(const struct device *dev)
{
	struct data *data = dev->data;

	if (!data) {
		return -ENODEV;
	}

	data->target = STOP_VAL;
	k_sem_give(&data->sem);

	return 0;
}

static int set_run_time(const struct device *dev, uint32_t run_time_ms)
{
	struct data *data = dev->data;

	if (!data) {
		return -ENODEV;
	}

	data->run_time = run_time_ms;

	return 0;
}

static int go_to(const struct device *dev, uint32_t target)
{
	struct data *data = dev->data;

	if (!data) {
		return -ENODEV;
	}

	data->target = target;
	k_sem_give(&data->sem);

	return 0;
}

static int get_pos(const struct device *dev)
{
	struct inst inst = {
		.data = dev->data,
		.cfg = dev->config,
	};

	if (!inst.data) {
		return -ENODEV;
	}

	// Is get_curr_pos reentrant? Is there a need for a mutex?

	return get_curr_pos(&inst, NULL);
}

static const struct mot_cnt_api mot_cnt_api = {
	.min = api_min,
	.max = api_max,
	.stop = api_stop,
	.set_run_time = set_run_time,
	.go_to = go_to,
	.get_pos = get_pos,
};

#define MOT_CNT_DEV_DEFINE(inst) \
	static const struct cfg cfg##inst = {\
		.sw_dev = DEVICE_DT_GET(DT_PHANDLE(DT_DRV_INST(inst), sw)), \
		.dir_dev = DEVICE_DT_GET(DT_PHANDLE(DT_DRV_INST(inst), dir)), \
	};                                   \
	static struct data data##inst;       \
	DEVICE_DT_DEFINE(DT_DRV_INST(inst),  \
			init_mot_cnt,        \
			NULL,                \
			&data##inst,         \
			&cfg##inst,          \
			POST_KERNEL, 50,     \
			&mot_cnt_api         \
			);

DT_INST_FOREACH_STATUS_OKAY(MOT_CNT_DEV_DEFINE)
```

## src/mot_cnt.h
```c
/*
 * Copyright (c) 2021 Hubert Miś
 *
 * SPDX-License-Identifier: Apache-2.0
 */

#include <zephyr/device.h>

#define MOT_CNT_STOP (-1)
#define MOT_CNT_MIN 0
#define MOT_CNT_MAX 255

#define MOT_CNT_DEFAULT_TIME 90000 /* ms */

typedef int (*mot_cnt_min_t)(const struct device *dev);
typedef int (*mot_cnt_max_t)(const struct device *dev);
typedef int (*mot_cnt_stop_t)(const struct device *dev);

typedef int (*mot_cnt_set_run_time_t)(const struct device *dev, uint32_t run_time_ms);
typedef int (*mot_cnt_go_to_t)(const struct device *dev, uint32_t target);
typedef int (*mot_cnt_get_pos_t)(const struct device *dev);

// TODO: Set target

struct mot_cnt_api {
	mot_cnt_min_t min;
	mot_cnt_max_t max;
	mot_cnt_stop_t stop;

	mot_cnt_set_run_time_t set_run_time;
	mot_cnt_go_to_t go_to;
	mot_cnt_get_pos_t get_pos;
};
```

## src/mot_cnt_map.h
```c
/*
 * Copyright (c) 2021 Hubert Miś
 *
 * SPDX-License-Identifier: Apache-2.0
 */

#include <zephyr/device.h>

static inline const struct device * mot_cnt_map_from_id(int id)
{
	switch (id) {
		case 0:
			return DEVICE_DT_GET(DT_NODELABEL(m0));

		case 1:
			return DEVICE_DT_GET(DT_NODELABEL(m1));

		default:
			return NULL;
	}
}
```

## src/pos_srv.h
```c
/*
 * Copyright (c) 2021 Hubert Miś
 *
 * SPDX-License-Identifier: Apache-2.0
 */

#include <stdbool.h>

int pos_srv_init(void);
int pos_srv_req(int id, int pos);
int pos_srv_override(int id, int pos);
int pos_srv_override_release(int id);
int pos_srv_set_auto(int id, int pos);
int pos_srv_set_projector_state(int id, bool enabled, unsigned long validity_ms);

int pos_srv_get(int id, int *req, int *override, int *auto_val, bool *prj);
```

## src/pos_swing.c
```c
/*
 * Copyright (c) 2021 Hubert Miś
 *
 * SPDX-License-Identifier: Apache-2.0
 */

#include "pos_swing.h"

#include <stdint.h>
#include <zephyr/kernel.h>
#include <zephyr/sys/util.h>
#include "mot_cnt.h"
#include "pos_srv.h"
#include "prov.h"

#define NUM_DEV DT_NUM_INST_STATUS_OKAY(hubertmis_mot_cnt)

#define POS_SWING_STACK_SIZE 512
#define POS_SWING_THR_PRIO 4

void pos_swing_thread(void *, void *, void *);

K_THREAD_DEFINE(pos_swing_tid_0, POS_SWING_STACK_SIZE,
		pos_swing_thread, (void *)0, NULL, NULL,
		POS_SWING_THR_PRIO, 0, 0);
K_THREAD_DEFINE(pos_swing_tid_1, POS_SWING_STACK_SIZE,
		pos_swing_thread, (void *)1, NULL, NULL,
		POS_SWING_THR_PRIO, 0, 0);

static uint32_t interval[NUM_DEV];
static struct k_sem sem[NUM_DEV];

void pos_swing_thread(void * id_val, void *, void *)
{
	int id = (int)id_val;

	if (id < 0 || id >= NUM_DEV) {
		return;
	}

	interval[id] = 0;
	k_sem_init(&sem[id], 0, 1);

	while (1) {
		int duration = prov_get_rsrc_duration(id);
		int interval = prov_get_swing_interval(id);

		if (duration < 0 || interval < 0) {
			k_sem_take(&sem[id], K_FOREVER);
			continue;
		}

		if (interval) {
			duration = duration == 0 ? MOT_CNT_DEFAULT_TIME : duration * 3 / 2;
			duration += 2000;

			pos_srv_override(id, MOT_CNT_MAX);
			k_sleep(K_MSEC(duration));
			pos_srv_override(id, MOT_CNT_MIN);
			k_sleep(K_MSEC(duration));
			pos_srv_override_release(id);

			k_sem_take(&sem[id], K_MSEC(interval));
		} else {
			k_sem_take(&sem[id], K_FOREVER);
		}
	}
}

int pos_swing_interval_set(int id, int s)
{
	if (id < 0 || id >= NUM_DEV) {
		return -EINVAL;
	}

	interval[id] = s;
	k_sem_give(&sem[id]);

	return 0;
}
```

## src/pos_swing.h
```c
/*
 * Copyright (c) 2021 Hubert Miś
 *
 * SPDX-License-Identifier: Apache-2.0
 */

int pos_swing_interval_set(int id, int s);
```
